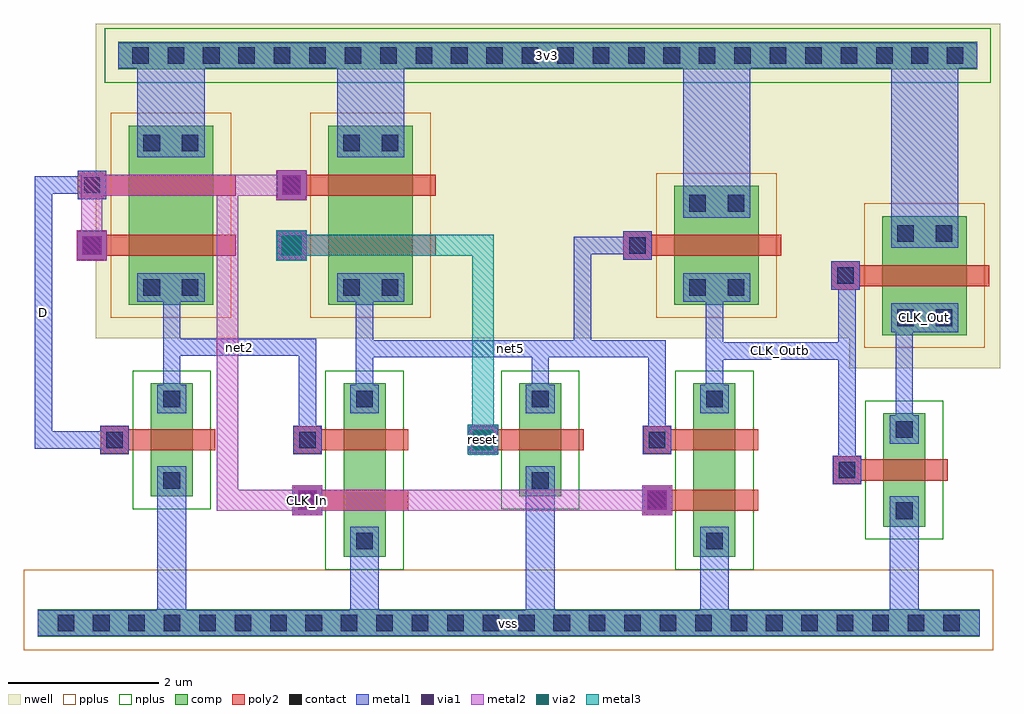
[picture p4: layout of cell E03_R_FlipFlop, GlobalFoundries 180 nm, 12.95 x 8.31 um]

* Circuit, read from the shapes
.subckt E03_R_FlipFlop 3v3 CLK_In CLK_Out CLK_Outb D net2 net5 reset vss
XM1 net2 D vss vss nfet_03v3 w=0.56u l=0.28u
XM2 n1 CLK_In vss vss nfet_03v3 w=0.56u l=0.28u
XM3 net5 net2 n1 vss nfet_03v3 w=0.56u l=0.28u
XM4 net5 reset vss vss nfet_03v3 w=0.56u l=0.28u
XM5 n2 CLK_In vss vss nfet_03v3 w=0.56u l=0.28u
XM6 CLK_Outb net5 n2 vss nfet_03v3 w=0.56u l=0.28u
XM7 CLK_Out CLK_Outb vss vss nfet_03v3 w=0.56u l=0.28u
XM8 n3 CLK_In net2 3v3 pfet_03v3 w=1.12u l=0.28u
XM9 3v3 D n3 3v3 pfet_03v3 w=1.12u l=0.28u
XM10 n4 reset net5 3v3 pfet_03v3 w=1.12u l=0.28u
XM11 3v3 CLK_In n4 3v3 pfet_03v3 w=1.12u l=0.28u
XM12 3v3 net5 CLK_Outb 3v3 pfet_03v3 w=1.12u l=0.28u
XM13 3v3 CLK_Outb CLK_Out 3v3 pfet_03v3 w=1.12u l=0.28u
.ends

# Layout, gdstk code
import gdstk
lib = gdstk.Library(unit=1e-6, precision=1e-09)
def R(c, l, rs):  # rectangles x0, y0, x1, y1
    for r in rs: c.add(gdstk.rectangle(r[:2], r[2:], *l))
def A(c, l, x, y, w, h, nx, ny, dx, dy):  # array of equal rectangles
    R(c, l, [(x+i*dx, y+j*dy, x+i*dx+w, y+j*dy+h) for i in range(nx) for j in range(ny)])
def P(c, l, *ps):  # polygons
    for p in ps: c.add(gdstk.Polygon(p, *l))
nwell = (21, 0)
comp = (22, 0)
poly2 = (30, 0)
pplus = (31, 0)
nplus = (32, 0)
contact = (33, 0)
metal1 = (34, 0)
via1 = (35, 0)
metal2 = (36, 0)
via2 = (38, 0)
metal3 = (42, 0)

e03_r_flipflop = lib.new_cell('E03_R_FlipFlop')
P(e03_r_flipflop, nwell, [(7.97,-0.52),(7.97,-0.12),(-2.03,-0.12),(-2.03,4.05),(9.97,4.05),(9.97,-0.52)])
R(e03_r_flipflop, comp, [(-2.8,-4.08,9.7,-3.72), (1.26,-3.02,1.82,-0.72), (5.9,-3.02,6.46,-0.72), (8.42,-2.62,8.98,-1.12), (-1.3,-2.22,-0.74,-0.72), (3.59,-2.22,4.15,-0.72), (8.41,-0.08,9.53,1.5), (-1.59,0.32,-0.47,2.7), (1.06,0.32,2.18,2.7), (5.65,0.32,6.77,1.9), (-1.73,3.45,9.67,3.81)])
P(e03_r_flipflop, poly2, [(0.6,-2.45),(0.6,-2.09),(0.96,-2.09),(0.96,-2.13),(2.12,-2.13),(2.12,-2.41),(0.96,-2.41),(0.96,-2.45)],
  [(5.24,-2.45),(5.24,-2.09),(5.6,-2.09),(5.6,-2.13),(6.76,-2.13),(6.76,-2.41),(5.6,-2.41),(5.6,-2.45)],
  [(7.76,-2.05),(7.76,-1.69),(8.12,-1.69),(8.12,-1.73),(9.28,-1.73),(9.28,-2.01),(8.12,-2.01),(8.12,-2.05)],
  [(-1.96,-1.65),(-1.96,-1.29),(-1.6,-1.29),(-1.6,-1.33),(-0.44,-1.33),(-0.44,-1.61),(-1.6,-1.61),(-1.6,-1.65)],
  [(0.6,-1.65),(0.6,-1.29),(0.96,-1.29),(0.96,-1.33),(2.12,-1.33),(2.12,-1.61),(0.96,-1.61),(0.96,-1.65)],
  [(2.93,-1.65),(2.93,-1.29),(3.29,-1.29),(3.29,-1.33),(4.45,-1.33),(4.45,-1.61),(3.29,-1.61),(3.29,-1.65)],
  [(5.24,-1.65),(5.24,-1.29),(5.6,-1.29),(5.6,-1.33),(6.76,-1.33),(6.76,-1.61),(5.6,-1.61),(5.6,-1.65)],
  [(7.73,0.52),(7.73,0.9),(8.11,0.9),(8.11,0.85),(9.83,0.85),(9.83,0.57),(8.11,0.57),(8.11,0.52)],
  [(-2.27,0.92),(-2.27,1.3),(-1.89,1.3),(-1.89,1.25),(-0.17,1.25),(-0.17,0.97),(-1.89,0.97),(-1.89,0.92)],
  [(0.38,0.92),(0.38,1.3),(0.76,1.3),(0.76,1.25),(2.48,1.25),(2.48,0.97),(0.76,0.97),(0.76,0.92)],
  [(4.97,0.92),(4.97,1.3),(5.35,1.3),(5.35,1.25),(7.07,1.25),(7.07,0.97),(5.35,0.97),(5.35,0.92)],
  [(-2.27,1.72),(-2.27,2.1),(-1.89,2.1),(-1.89,2.05),(-0.17,2.05),(-0.17,1.77),(-1.89,1.77),(-1.89,1.72)],
  [(0.38,1.72),(0.38,2.1),(0.76,2.1),(0.76,2.05),(2.48,2.05),(2.48,1.77),(0.76,1.77),(0.76,1.72)])
R(e03_r_flipflop, pplus, [(-2.98,-4.26,9.88,-3.19), (8.17,-0.25,9.77,1.67), (-1.83,0.15,-0.23,2.87), (0.82,0.15,2.42,2.87), (5.41,0.15,7.01,2.07)])
R(e03_r_flipflop, nplus, [(1.02,-3.19,2.06,-0.55), (5.66,-3.19,6.7,-0.55), (8.18,-2.79,9.22,-0.95), (-1.54,-2.39,-0.5,-0.55), (3.35,-2.39,4.39,-0.55), (-1.91,3.27,9.85,3.99)])
A(e03_r_flipflop, contact, -2.535, -4.01, 0.22, 0.22, 26, 1, 0.47, 0)
A(e03_r_flipflop, contact, -1.545, 3.52, 0.22, 0.22, 24, 1, 0.47, 0)
R(e03_r_flipflop, contact, [(1.43,-2.92,1.65,-2.7), (6.07,-2.92,6.29,-2.7), (8.59,-2.52,8.81,-2.3), (0.67,-2.38,0.89,-2.16), (5.31,-2.38,5.53,-2.16), (-1.13,-2.12,-0.91,-1.9), (3.76,-2.12,3.98,-1.9), (7.83,-1.98,8.05,-1.76), (-1.89,-1.58,-1.67,-1.36), (0.67,-1.58,0.89,-1.36), (3,-1.58,3.22,-1.36), (5.31,-1.58,5.53,-1.36), (8.59,-1.44,8.81,-1.22), (-1.13,-1.04,-0.91,-0.82), (1.43,-1.04,1.65,-0.82), (3.76,-1.04,3.98,-0.82), (6.07,-1.04,6.29,-0.82), (8.605,0.04,8.825,0.26), (9.115,0.04,9.335,0.26), (-1.395,0.44,-1.175,0.66), (-0.885,0.44,-0.665,0.66), (1.255,0.44,1.475,0.66), (1.765,0.44,1.985,0.66), (5.845,0.44,6.065,0.66), (6.355,0.44,6.575,0.66), (7.81,0.6,8.03,0.82), (-2.19,1,-1.97,1.22), (0.46,1,0.68,1.22), (5.05,1,5.27,1.22), (8.605,1.16,8.825,1.38), (9.115,1.16,9.335,1.38), (5.845,1.56,6.065,1.78), (6.355,1.56,6.575,1.78), (-2.19,1.8,-1.97,2.02), (0.46,1.8,0.68,2.02), (-1.395,2.36,-1.175,2.58), (-0.885,2.36,-0.665,2.58), (1.255,2.36,1.475,2.58), (1.765,2.36,1.985,2.58)])
R(e03_r_flipflop, metal1, [(0.58,-2.47,0.98,-2.07), (5.22,-2.47,5.62,-2.07), (2.91,-1.67,3.31,-1.27), (-2.28,0.91,-1.88,1.31), (0.37,0.91,0.77,1.31), (0.37,1.71,0.77,2.11)])
P(e03_r_flipflop, metal1, [(-2.8,-4.07),(-2.8,-3.73),(-1.21,-3.73),(-1.21,-1.82),(-0.83,-1.82),(-0.83,-3.73),(1.35,-3.73),(1.35,-2.62),(1.73,-2.62),(1.73,-3.73),(3.68,-3.73),(3.68,-1.82),(4.06,-1.82),(4.06,-3.73),(5.99,-3.73),(5.99,-2.62),(6.37,-2.62),(6.37,-3.73),(8.51,-3.73),(8.51,-2.22),(8.89,-2.22),(8.89,-3.73),(9.7,-3.73),(9.7,-4.07)],
  [(8.51,-1.52),(8.51,-1.14),(8.585,-1.14),(8.585,-0.04),(8.525,-0.04),(8.525,0.34),(9.415,0.34),(9.415,-0.04),(8.815,-0.04),(8.815,-1.14),(8.89,-1.14),(8.89,-1.52)],
  [(0.59,-1.66),(0.59,-1.28),(0.665,-1.28),(0.665,-0.355),(-0.905,-0.355),(-0.905,-0.74),(-0.83,-0.74),(-0.83,-1.12),(-1.21,-1.12),(-1.21,-0.74),(-1.135,-0.74),(-1.135,0.36),(-1.475,0.36),(-1.475,0.74),(-0.585,0.74),(-0.585,0.36),(-0.905,0.36),(-0.905,-0.125),(0.895,-0.125),(0.895,-1.28),(0.97,-1.28),(0.97,-1.66)],
  [(7.75,-2.06),(7.75,-1.68),(7.825,-1.68),(7.825,-0.405),(6.295,-0.405),(6.295,-0.74),(6.37,-0.74),(6.37,-1.12),(5.99,-1.12),(5.99,-0.74),(6.065,-0.74),(6.065,0.36),(5.765,0.36),(5.765,0.74),(6.655,0.74),(6.655,0.36),(6.295,0.36),(6.295,-0.175),(7.825,-0.175),(7.825,0.52),(7.73,0.52),(7.73,0.9),(8.11,0.9),(8.11,0.52),(8.055,0.52),(8.055,-1.68),(8.13,-1.68),(8.13,-2.06)],
  [(5.23,-1.66),(5.23,-1.28),(5.305,-1.28),(5.305,-0.375),(3.985,-0.375),(3.985,-0.74),(4.06,-0.74),(4.06,-1.12),(3.68,-1.12),(3.68,-0.74),(3.755,-0.74),(3.755,-0.375),(1.655,-0.375),(1.655,-0.74),(1.73,-0.74),(1.73,-1.12),(1.35,-1.12),(1.35,-0.74),(1.425,-0.74),(1.425,0.36),(1.175,0.36),(1.175,0.74),(2.065,0.74),(2.065,0.36),(1.655,0.36),(1.655,-0.145),(4.315,-0.145),(4.315,1.225),(4.97,1.225),(4.97,1.3),(5.35,1.3),(5.35,0.92),(4.97,0.92),(4.97,0.995),(4.545,0.995),(4.545,-0.145),(5.535,-0.145),(5.535,-1.28),(5.61,-1.28),(5.61,-1.66)],
  [(-1.97,-1.66),(-1.97,-1.585),(-2.835,-1.585),(-2.835,2.025),(-2.27,2.025),(-2.27,2.1),(-1.89,2.1),(-1.89,1.72),(-2.27,1.72),(-2.27,1.795),(-2.605,1.795),(-2.605,-1.355),(-1.97,-1.355),(-1.97,-1.28),(-1.59,-1.28),(-1.59,-1.66)],
  [(8.525,1.08),(8.525,3.46),(6.655,3.46),(6.655,1.48),(5.765,1.48),(5.765,3.46),(2.065,3.46),(2.065,2.28),(1.175,2.28),(1.175,3.46),(-0.585,3.46),(-0.585,2.28),(-1.475,2.28),(-1.475,3.46),(-1.73,3.46),(-1.73,3.8),(9.67,3.8),(9.67,3.46),(9.415,3.46),(9.415,1.08)])
R(e03_r_flipflop, via1, [(0.65,-2.4,0.91,-2.14), (5.29,-2.4,5.55,-2.14), (2.98,-1.6,3.24,-1.34), (-2.21,0.98,-1.95,1.24), (0.44,0.98,0.7,1.24), (0.44,1.78,0.7,2.04)])
R(e03_r_flipflop, metal2, [(2.91,-1.67,3.31,-1.27), (0.37,0.91,0.77,1.31)])
P(e03_r_flipflop, metal2, [(0.58,-2.47),(0.58,-2.41),(-0.42,-2.41),(-0.42,1.77),(-1.94,1.77),(-1.94,1.31),(-1.88,1.31),(-1.88,0.91),(-2.28,0.91),(-2.28,1.31),(-2.22,1.31),(-2.22,2.05),(0.37,2.05),(0.37,2.11),(0.77,2.11),(0.77,1.71),(0.37,1.71),(0.37,1.77),(-0.14,1.77),(-0.14,-2.13),(0.58,-2.13),(0.58,-2.07),(0.98,-2.07),(0.98,-2.13),(5.22,-2.13),(5.22,-2.07),(5.62,-2.07),(5.62,-2.47),(5.22,-2.47),(5.22,-2.41),(0.98,-2.41),(0.98,-2.47)])
R(e03_r_flipflop, via2, [(2.98,-1.6,3.24,-1.34), (0.44,0.98,0.7,1.24)])
P(e03_r_flipflop, metal3, [(2.91,-1.67),(2.91,-1.27),(2.97,-1.27),(2.97,0.97),(0.77,0.97),(0.77,0.91),(0.37,0.91),(0.37,1.31),(0.77,1.31),(0.77,1.25),(3.25,1.25),(3.25,-1.27),(3.31,-1.27),(3.31,-1.67)])
e03_r_flipflop.add(gdstk.Label('D', (-2.72,0.22), layer=34, texttype=10))
e03_r_flipflop.add(gdstk.Label('CLK_In', (0.78,-2.27), layer=34, texttype=10))
e03_r_flipflop.add(gdstk.Label('reset', (3.11,-1.47), layer=34, texttype=10))
e03_r_flipflop.add(gdstk.Label('net2', (-0.12,-0.24), layer=34, texttype=10))
e03_r_flipflop.add(gdstk.Label('net5', (3.48,-0.26), layer=34, texttype=10))
e03_r_flipflop.add(gdstk.Label('CLK_Outb', (7.06,-0.29), layer=34, texttype=10))
e03_r_flipflop.add(gdstk.Label('CLK_Out', (8.97,0.15), layer=34, texttype=10))
e03_r_flipflop.add(gdstk.Label('3v3', (3.97,3.63), layer=34, texttype=10))
e03_r_flipflop.add(gdstk.Label('vss', (3.45,-3.9), layer=34, texttype=10))

lib.write_gds('E03_R_FlipFlop.gds')
